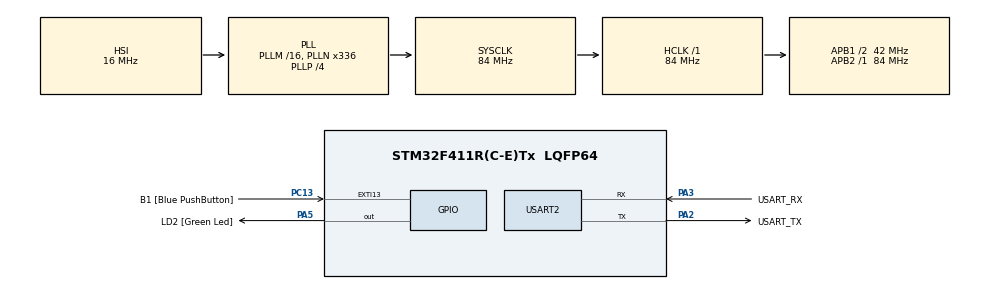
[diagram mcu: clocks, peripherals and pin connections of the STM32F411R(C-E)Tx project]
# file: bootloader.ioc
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Mcu.Family=STM32F4
PC15-OSC32_OUT.Mode=LSE-External-Oscillator
RCC.CortexFreq_Value=84000000
PC13-ANTI_TAMP.GPIO_Label=B1 [Blue PushButton]
PA14.GPIO_Label=TCK
PH1\ -\ OSC_OUT.Mode=HSE-External-Clock-Source
RCC.APB1CLKDivider=RCC_HCLK_DIV2
PC14-OSC32_IN.Signal=RCC_OSC32_IN
RCC.SYSCLKSource=RCC_SYSCLKSOURCE_PLLCLK
ProjectManager.StackSize=0x400
PA13.Signal=SYS_JTMS-SWDIO
PA3.Mode=Asynchronous
PH0\ -\ OSC_IN.Mode=HSE-External-Clock-Source
PH0\ -\ OSC_IN.Signal=RCC_OSC_IN
ProjectManager.TargetToolchain=STM32CubeIDE
RCC.HCLKFreq_Value=84000000
RCC.APB2TimFreq_Value=84000000
PC15-OSC32_OUT.Signal=RCC_OSC32_OUT
RCC.AHBFreq_Value=84000000
PA5.Signal=GPIO_Output
RCC.HSE_VALUE=8000000
PH1\ -\ OSC_OUT.Signal=RCC_OSC_OUT
board=NUCLEO-F411RE
PC13-ANTI_TAMP.Signal=GPXTI13
RCC.VCOOutputFreq_Value=336000000
RCC.APB2Freq_Value=84000000
PC14-OSC32_IN.Mode=LSE-External-Oscillator
PA14.Mode=Serial_Wire
PA13.Mode=Serial_Wire
Mcu.Name=STM32F411R(C-E)Tx
PA2.Signal=USART2_TX
PA13.GPIO_Label=TMS
RCC.FLatency-AdvancedSettings=FLASH_LATENCY_2
RCC.48MHZClocksFreq_Value=84000000
PB3.Signal=SYS_JTDO-SWO
RCC.SYSCLKFreq_VALUE=84000000
Mcu.Package=LQFP64
PA5.GPIO_Label=LD2 [Green Led]
USART2.VirtualMode=VM_ASYNC
PC13-ANTI_TAMP.GPIO_ModeDefaultEXTI=GPIO_MODE_IT_FALLING
PA2.GPIO_Label=USART_TX
PA14.Signal=SYS_JTCK-SWCLK
ProjectManager.HeapSize=0x200
RCC.HSI_VALUE=16000000
RCC.PLLP=RCC_PLLP_DIV4
NVIC.PriorityGroup=NVIC_PRIORITYGROUP_0
RCC.PLLN=336
RCC.APB1TimFreq_Value=84000000
PA2.Mode=Asynchronous
RCC.APB1Freq_Value=42000000
VP_CRC_VS_CRC.Mode=CRC_Activate
PA3.GPIO_Label=USART_RX
PA3.Signal=USART2_RX
PB3.GPIO_Label=SWO

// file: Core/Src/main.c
/* USER CODE BEGIN Header */
/**
  ******************************************************************************
  * @file           : main.c
  * @brief          : Main program body
  ******************************************************************************
  * @attention
  *
  * <h2><center>&copy; Copyright (c) 2026 STMicroelectronics.
  * All rights reserved.</center></h2>
  *
  * This software component is licensed by ST under BSD 3-Clause license,
  * the "License"; You may not use this file except in compliance with the
  * License. You may obtain a copy of the License at:
  *                        opensource.org/licenses/BSD-3-Clause
  *
  ******************************************************************************
  */
/* USER CODE END Header */
#include "main.h"

/* USER CODE BEGIN Includes */
#include "uart.h"
#include "boot_jump.h"
#include "config_cmac.h"
#include "xmodem.h"
/* USER CODE END Includes */

CRC_HandleTypeDef hcrc;
uint8_t cmd = 0;
UART_HandleTypeDef huart2;
XMODEM_Status_t status;
uint32_t received_size = 0;
uint32_t real_size = 8532;

void SystemClock_Config(void);
static void MX_GPIO_Init(void);
static void MX_USART2_UART_Init(void);
static void MX_CRC_Init(void);

int main(void)
{

  /* MCU Configuration--------------------------------------------------------*/

  /* Reset of all peripherals, Initializes the Flash interface and the Systick. */
  HAL_Init();

  /* Configure the system clock */
  SystemClock_Config();

  /* Initialize all configured peripherals */
  MX_GPIO_Init();
  MX_USART2_UART_Init();
  MX_CRC_Init();

  /* USER CODE BEGIN 2 */

  UART_SendString((uint8_t*)"\r\nBootloader starting \r\n");
  UART_SendString((uint8_t*)"U - Update Firmware (XMODEM)\r\n");
  UART_SendString((uint8_t*)"J - Boot Application\r\n");
  UART_SendString((uint8_t*)"> ");

  /* USER CODE END 2 */

  /* Infinite loop */
  /* USER CODE BEGIN WHILE */
  while (1)
  {

	    if (UART_ReceiveByte(&cmd) == UART_OK)
	    {
	        if (cmd == 'U')
	        {
	            UART_SendString((uint8_t*)"\r\nStarting XMODEM...\r\n");

	            status = XMODEM_Receive(APP_FLASH_ADDRESS, APP_FLASH_SIZE,&received_size);

	            if (status == XMODEM_OK)
	            {
	                UART_SendString((uint8_t*)"Update done. Verifying...\r\n");

	                if (Verify_Firmware_CMAC(APP_FLASH_ADDRESS, real_size))
	                {
	                    UART_SendString((uint8_t*)"FW VALID! Jumping...\r\n");
	                    HAL_Delay(500);
	                    Boot_JumpToApplication(APP_FLASH_ADDRESS);
	                }
	                else
	                {
	                    UART_SendString((uint8_t*)"AUTH FAILED!\r\n");
	                }
	            }
	            else
	            {
	                UART_SendString((uint8_t*)"XMODEM FAILED!\r\n");
	            }
	        }
	        else if (cmd == 'J')
	        {
	            UART_SendString((uint8_t*)"\r\nVerifying Application...\r\n");

	            if (Verify_Firmware_CMAC(APP_FLASH_ADDRESS, real_size))
	            {
	                UART_SendString((uint8_t*)"FW VALID! Jumping...\r\n");
	                HAL_Delay(500);
	                Boot_JumpToApplication(APP_FLASH_ADDRESS);
	            }
	            else
	            {
	                UART_SendString((uint8_t*)"NO VALID FW!\r\n");
	            }
	        }
	        else
	        {
	            UART_SendString((uint8_t*)"\r\nUnknown command!\r\n");
	        }
	    }
    /* USER CODE END WHILE */

  }
}

void SystemClock_Config(void)
{
  RCC_OscInitTypeDef RCC_OscInitStruct = {0};
  RCC_ClkInitTypeDef RCC_ClkInitStruct = {0};

  /** Configure the main internal regulator output voltage
  */
  __HAL_RCC_PWR_CLK_ENABLE();
  __HAL_PWR_VOLTAGESCALING_CONFIG(PWR_REGULATOR_VOLTAGE_SCALE1);
  /** Initializes the RCC Oscillators according to the specified parameters
  * in the RCC_OscInitTypeDef structure.
  */
  RCC_OscInitStruct.OscillatorType = RCC_OSCILLATORTYPE_HSI;
  RCC_OscInitStruct.HSIState = RCC_HSI_ON;
  RCC_OscInitStruct.HSICalibrationValue = RCC_HSICALIBRATION_DEFAULT;
  RCC_OscInitStruct.PLL.PLLState = RCC_PLL_ON;
  RCC_OscInitStruct.PLL.PLLSource = RCC_PLLSOURCE_HSI;
  RCC_OscInitStruct.PLL.PLLM = 16;
  RCC_OscInitStruct.PLL.PLLN = 336;
  RCC_OscInitStruct.PLL.PLLP = RCC_PLLP_DIV4;
  RCC_OscInitStruct.PLL.PLLQ = 4;
  if (HAL_RCC_OscConfig(&RCC_OscInitStruct) != HAL_OK)
  {
    Error_Handler();
  }
  /** Initializes the CPU, AHB and APB buses clocks
  */
  RCC_ClkInitStruct.ClockType = RCC_CLOCKTYPE_HCLK|RCC_CLOCKTYPE_SYSCLK
                              |RCC_CLOCKTYPE_PCLK1|RCC_CLOCKTYPE_PCLK2;
  RCC_ClkInitStruct.SYSCLKSource = RCC_SYSCLKSOURCE_PLLCLK;
  RCC_ClkInitStruct.AHBCLKDivider = RCC_SYSCLK_DIV1;
  RCC_ClkInitStruct.APB1CLKDivider = RCC_HCLK_DIV2;
  RCC_ClkInitStruct.APB2CLKDivider = RCC_HCLK_DIV1;

  if (HAL_RCC_ClockConfig(&RCC_ClkInitStruct, FLASH_LATENCY_2) != HAL_OK)
  {
    Error_Handler();
  }
}

static void MX_CRC_Init(void)
{

  hcrc.Instance = CRC;
  if (HAL_CRC_Init(&hcrc) != HAL_OK)
  {
    Error_Handler();
  }

}

static void MX_USART2_UART_Init(void)
{

  huart2.Instance = USART2;
  huart2.Init.BaudRate = 115200;
  huart2.Init.WordLength = UART_WORDLENGTH_8B;
  huart2.Init.StopBits = UART_STOPBITS_1;
  huart2.Init.Parity = UART_PARITY_NONE;
  huart2.Init.Mode = UART_MODE_TX_RX;
  huart2.Init.HwFlowCtl = UART_HWCONTROL_NONE;
  huart2.Init.OverSampling = UART_OVERSAMPLING_16;
  if (HAL_UART_Init(&huart2) != HAL_OK)
  {
    Error_Handler();
  }

}

static void MX_GPIO_Init(void)
{
  GPIO_InitTypeDef GPIO_InitStruct = {0};

  /* GPIO Ports Clock Enable */
  __HAL_RCC_GPIOC_CLK_ENABLE();
  __HAL_RCC_GPIOH_CLK_ENABLE();
  __HAL_RCC_GPIOA_CLK_ENABLE();
  __HAL_RCC_GPIOB_CLK_ENABLE();

  /*Configure GPIO pin Output Level */
  HAL_GPIO_WritePin(LD2_GPIO_Port, LD2_Pin, GPIO_PIN_RESET);

  /*Configure GPIO pin : B1_Pin */
  GPIO_InitStruct.Pin = B1_Pin;
  GPIO_InitStruct.Mode = GPIO_MODE_IT_FALLING;
  GPIO_InitStruct.Pull = GPIO_NOPULL;
  HAL_GPIO_Init(B1_GPIO_Port, &GPIO_InitStruct);

  /*Configure GPIO pin : LD2_Pin */
  GPIO_InitStruct.Pin = LD2_Pin;
  GPIO_InitStruct.Mode = GPIO_MODE_OUTPUT_PP;
  GPIO_InitStruct.Pull = GPIO_NOPULL;
  GPIO_InitStruct.Speed = GPIO_SPEED_FREQ_LOW;
  HAL_GPIO_Init(LD2_GPIO_Port, &GPIO_InitStruct);

}

void Error_Handler(void)
{
  __disable_irq();
  while (1)
  {
  }
}

/************************ (C) COPYRIGHT STMicroelectronics *****END OF FILE****/
